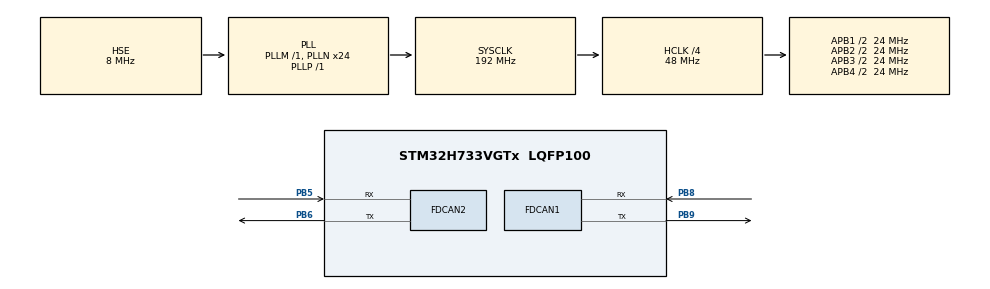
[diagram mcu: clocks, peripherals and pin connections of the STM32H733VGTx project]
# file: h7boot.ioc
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CORTEX_M7.CPU_DCache=Disabled
CORTEX_M7.CPU_ICache=Disabled
CRC.InputDataFormat=CRC_INPUTDATA_FORMAT_WORDS
FDCAN1.AutoRetransmission=ENABLE
FDCAN1.CalculateBaudRateNominal=500000
FDCAN1.CalculateTimeBitNominal=2000
FDCAN1.CalculateTimeQuantumNominal=125.0
FDCAN1.NominalPrescaler=6
FDCAN1.NominalSyncJumpWidth=4
FDCAN1.NominalTimeSeg1=13
FDCAN1.RxFifo0ElmtsNbr=1
FDCAN1.RxFifo1ElmtsNbr=0
FDCAN1.StdFiltersNbr=1
FDCAN1.TxFifoQueueElmtsNbr=1
FDCAN2.AutoRetransmission=ENABLE
FDCAN2.CalculateBaudRateNominal=500000
FDCAN2.CalculateTimeBitNominal=2000
FDCAN2.CalculateTimeQuantumNominal=125.0
FDCAN2.NominalPrescaler=6
FDCAN2.NominalSyncJumpWidth=4
FDCAN2.NominalTimeSeg1=13
FDCAN2.RxFifo0ElmtsNbr=1
FDCAN2.StdFiltersNbr=1
FDCAN2.TxFifoQueueElmtsNbr=1
FREERTOS.Tasks01=interfaceTask,32,512,runInterfaceTask,Default,NULL,Static,interfaceTaskBuffer,interfaceTaskControlBlock;tickTask,24,512,runTickTask,Default,NULL,Static,tickTaskBuffer,tickTaskControlBlock;canTxTask,16,512,runCanTxTask,Default,NULL,Static,canTxTaskBuffer,canTxTaskControlBlock
FREERTOS.configUSE_NEWLIB_REENTRANT=1
Mcu.Family=STM32H7
Mcu.Name=STM32H733VGTx
Mcu.Package=LQFP100
NVIC.FDCAN1_IT0_IRQn=true\:5\:0\:false\:false\:true\:true\:true\:true\:true
NVIC.FDCAN1_IT1_IRQn=true\:5\:0\:false\:false\:true\:true\:true\:true\:true
NVIC.FDCAN2_IT0_IRQn=true\:5\:0\:false\:false\:true\:true\:true\:true\:true
NVIC.FDCAN2_IT1_IRQn=true\:5\:0\:false\:false\:true\:true\:true\:true\:true
NVIC.PriorityGroup=NVIC_PRIORITYGROUP_4
NVIC.TIM6_DAC_IRQn=true\:15\:0\:false\:false\:true\:false\:false\:true\:true
NVIC.TimeBase=TIM6_DAC_IRQn
NVIC.TimeBaseIP=TIM6
PB5.Mode=FDCAN_Activate
PB5.Signal=FDCAN2_RX
PB6.Mode=FDCAN_Activate
PB6.Signal=FDCAN2_TX
PB8.Mode=FDCAN_Activate
PB8.Signal=FDCAN1_RX
PB9.Mode=FDCAN_Activate
PB9.Signal=FDCAN1_TX
PH0-OSC_IN.Mode=HSE-External-Oscillator
PH0-OSC_IN.Signal=RCC_OSC_IN
PH1-OSC_OUT.Mode=HSE-External-Oscillator
PH1-OSC_OUT.Signal=RCC_OSC_OUT
ProjectManager.HeapSize=0x00
ProjectManager.StackSize=0x400
ProjectManager.TargetToolchain=STM32CubeIDE
RCC.ADCFreq_Value=16125000
RCC.APB1Freq_Value=24000000
RCC.APB2Freq_Value=24000000
RCC.APB3Freq_Value=24000000
RCC.APB4Freq_Value=24000000
RCC.CortexFreq_Value=96000000
RCC.D1CPRE=RCC_SYSCLK_DIV2
RCC.D1PPRE=RCC_APB3_DIV2
RCC.D2PPRE1=RCC_APB1_DIV2
RCC.D2PPRE2=RCC_APB2_DIV2
RCC.D3PPRE=RCC_APB4_DIV2
RCC.DIVM1=1
RCC.DIVN1=24
RCC.DIVP1=1
RCC.DIVQ1=4
RCC.HCLKFreq_Value=48000000
RCC.HPRE=RCC_HCLK_DIV2
RCC.HSE_VALUE=8000000
RCC.PLL2FRACN=0
RCC.PLL3FRACN=0
RCC.PLLFRACN=0
RCC.PLLSourceVirtual=RCC_PLLSOURCE_HSE
RCC.SYSCLKFreq_VALUE=192000000
RCC.SYSCLKSource=RCC_SYSCLKSOURCE_PLLCLK
RCC.USBFreq_Value=48000000
VP_CRC_VS_CRC.Mode=CRC_Activate
VP_FREERTOS_VS_CMSIS_V2.Mode=CMSIS_V2
VP_SYS_VS_tim6.Mode=TIM6
board=custom

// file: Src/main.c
/* USER CODE BEGIN Header */
/**
 ******************************************************************************
 * @file           : main.c
 * @brief          : Main program body
 ******************************************************************************
 * @attention
 *
 * Copyright (c) 2023 STMicroelectronics.
 * All rights reserved.
 *
 * This software is licensed under terms that can be found in the LICENSE file
 * in the root directory of this software component.
 * If no LICENSE file comes with this software, it is provided AS-IS.
 *
 ******************************************************************************
 */
/* USER CODE END Header */
#include "main.h"
#include "cmsis_os.h"

/* USER CODE BEGIN Includes */
#include "bootloader.h"
#include "hw_can.h"
#include "config.h"
/* USER CODE END Includes */

typedef StaticTask_t osStaticThreadDef_t;

CRC_HandleTypeDef hcrc;

FDCAN_HandleTypeDef hfdcan1;
FDCAN_HandleTypeDef hfdcan2;

/* Definitions for interfaceTask */
osThreadId_t interfaceTaskHandle;
uint32_t interfaceTaskBuffer[ 512 ];
osStaticThreadDef_t interfaceTaskControlBlock;
const osThreadAttr_t interfaceTask_attributes = {
  .name = "interfaceTask",
  .cb_mem = &interfaceTaskControlBlock,
  .cb_size = sizeof(interfaceTaskControlBlock),
  .stack_mem = &interfaceTaskBuffer[0],
  .stack_size = sizeof(interfaceTaskBuffer),
  .priority = (osPriority_t) osPriorityAboveNormal,
};
/* Definitions for tickTask */
osThreadId_t tickTaskHandle;
uint32_t tickTaskBuffer[ 512 ];
osStaticThreadDef_t tickTaskControlBlock;
const osThreadAttr_t tickTask_attributes = {
  .name = "tickTask",
  .cb_mem = &tickTaskControlBlock,
  .cb_size = sizeof(tickTaskControlBlock),
  .stack_mem = &tickTaskBuffer[0],
  .stack_size = sizeof(tickTaskBuffer),
  .priority = (osPriority_t) osPriorityNormal,
};
/* Definitions for canTxTask */
osThreadId_t canTxTaskHandle;
uint32_t canTxTaskBuffer[ 512 ];
osStaticThreadDef_t canTxTaskControlBlock;
const osThreadAttr_t canTxTask_attributes = {
  .name = "canTxTask",
  .cb_mem = &canTxTaskControlBlock,
  .cb_size = sizeof(canTxTaskControlBlock),
  .stack_mem = &canTxTaskBuffer[0],
  .stack_size = sizeof(canTxTaskBuffer),
  .priority = (osPriority_t) osPriorityBelowNormal,
};

void SystemClock_Config(void);
static void MX_GPIO_Init(void);
static void MX_CRC_Init(void);
static void MX_FDCAN1_Init(void);
static void MX_FDCAN2_Init(void);
void runInterfaceTask(void *argument);
void runTickTask(void *argument);
void runCanTxTask(void *argument);

/* USER CODE BEGIN 0 */
CanHandle can = { .canMsgRecievecallback = NULL };
/* USER CODE END 0 */

int main(void)
{

  /* MCU Configuration--------------------------------------------------------*/

  /* Reset of all peripherals, Initializes the Flash interface and the Systick. */
  HAL_Init();

  /* Configure the system clock */
  SystemClock_Config();

  /* Initialize all configured peripherals */
  MX_GPIO_Init();
  MX_CRC_Init();
  MX_FDCAN1_Init();
  MX_FDCAN2_Init();
  /* USER CODE BEGIN 2 */
// Support using different FDCAN peripherals (FDCAN1 or FDCAN2) for
// the bootloader on different boards. This just depends on the hardware
// this will be flashed to. So we only need to make one STM32CubeMX project,
// both FDCAN peripherals are enabled and configured identically, but we only
// pass one the `hw_can` driver to be used during operation.
#ifdef BOOT_FDCAN1
    can.can = &hfdcan1;
    hw_can_init(&can);
#elif defined(BOOT_FDCAN2)
    can.can = &hfdcan2;
    hw_can_init(&can);
#else
#error Define which FDCAN peripheral is used!
#endif

    bootloader_init();
  /* USER CODE END 2 */

  /* Init scheduler */
  osKernelInitialize();

  /* Create the thread(s) */
  /* creation of interfaceTask */
  interfaceTaskHandle = osThreadNew(runInterfaceTask, NULL, &interfaceTask_attributes);

  /* creation of tickTask */
  tickTaskHandle = osThreadNew(runTickTask, NULL, &tickTask_attributes);

  /* creation of canTxTask */
  canTxTaskHandle = osThreadNew(runCanTxTask, NULL, &canTxTask_attributes);

  /* Start scheduler */
  osKernelStart();

  /* We should never get here as control is now taken by the scheduler */
  /* Infinite loop */
    while (1)
    {

    }
}

void SystemClock_Config(void)
{
  RCC_OscInitTypeDef RCC_OscInitStruct = {0};
  RCC_ClkInitTypeDef RCC_ClkInitStruct = {0};

  /** Supply configuration update enable
  */
  HAL_PWREx_ConfigSupply(PWR_LDO_SUPPLY);

  /** Configure the main internal regulator output voltage
  */
  __HAL_PWR_VOLTAGESCALING_CONFIG(PWR_REGULATOR_VOLTAGE_SCALE3);

  while(!__HAL_PWR_GET_FLAG(PWR_FLAG_VOSRDY)) {}

  /** Initializes the RCC Oscillators according to the specified parameters
  * in the RCC_OscInitTypeDef structure.
  */
  RCC_OscInitStruct.OscillatorType = RCC_OSCILLATORTYPE_HSE;
  RCC_OscInitStruct.HSEState = RCC_HSE_ON;
  RCC_OscInitStruct.PLL.PLLState = RCC_PLL_ON;
  RCC_OscInitStruct.PLL.PLLSource = RCC_PLLSOURCE_HSE;
  RCC_OscInitStruct.PLL.PLLM = 1;
  RCC_OscInitStruct.PLL.PLLN = 24;
  RCC_OscInitStruct.PLL.PLLP = 1;
  RCC_OscInitStruct.PLL.PLLQ = 4;
  RCC_OscInitStruct.PLL.PLLR = 2;
  RCC_OscInitStruct.PLL.PLLRGE = RCC_PLL1VCIRANGE_3;
  RCC_OscInitStruct.PLL.PLLVCOSEL = RCC_PLL1VCOWIDE;
  RCC_OscInitStruct.PLL.PLLFRACN = 0;
  if (HAL_RCC_OscConfig(&RCC_OscInitStruct) != HAL_OK)
  {
    Error_Handler();
  }

  /** Initializes the CPU, AHB and APB buses clocks
  */
  RCC_ClkInitStruct.ClockType = RCC_CLOCKTYPE_HCLK|RCC_CLOCKTYPE_SYSCLK
                              |RCC_CLOCKTYPE_PCLK1|RCC_CLOCKTYPE_PCLK2
                              |RCC_CLOCKTYPE_D3PCLK1|RCC_CLOCKTYPE_D1PCLK1;
  RCC_ClkInitStruct.SYSCLKSource = RCC_SYSCLKSOURCE_PLLCLK;
  RCC_ClkInitStruct.SYSCLKDivider = RCC_SYSCLK_DIV2;
  RCC_ClkInitStruct.AHBCLKDivider = RCC_HCLK_DIV2;
  RCC_ClkInitStruct.APB3CLKDivider = RCC_APB3_DIV2;
  RCC_ClkInitStruct.APB1CLKDivider = RCC_APB1_DIV2;
  RCC_ClkInitStruct.APB2CLKDivider = RCC_APB2_DIV2;
  RCC_ClkInitStruct.APB4CLKDivider = RCC_APB4_DIV2;

  if (HAL_RCC_ClockConfig(&RCC_ClkInitStruct, FLASH_LATENCY_1) != HAL_OK)
  {
    Error_Handler();
  }
}

static void MX_CRC_Init(void)
{

  hcrc.Instance = CRC;
  hcrc.Init.DefaultPolynomialUse = DEFAULT_POLYNOMIAL_ENABLE;
  hcrc.Init.DefaultInitValueUse = DEFAULT_INIT_VALUE_ENABLE;
  hcrc.Init.InputDataInversionMode = CRC_INPUTDATA_INVERSION_NONE;
  hcrc.Init.OutputDataInversionMode = CRC_OUTPUTDATA_INVERSION_DISABLE;
  hcrc.InputDataFormat = CRC_INPUTDATA_FORMAT_WORDS;
  if (HAL_CRC_Init(&hcrc) != HAL_OK)
  {
    Error_Handler();
  }

}

static void MX_FDCAN1_Init(void)
{

  hfdcan1.Instance = FDCAN1;
  hfdcan1.Init.FrameFormat = FDCAN_FRAME_CLASSIC;
  hfdcan1.Init.Mode = FDCAN_MODE_NORMAL;
  hfdcan1.Init.AutoRetransmission = ENABLE;
  hfdcan1.Init.TransmitPause = DISABLE;
  hfdcan1.Init.ProtocolException = DISABLE;
  hfdcan1.Init.NominalPrescaler = 6;
  hfdcan1.Init.NominalSyncJumpWidth = 4;
  hfdcan1.Init.NominalTimeSeg1 = 13;
  hfdcan1.Init.NominalTimeSeg2 = 2;
  hfdcan1.Init.DataPrescaler = 1;
  hfdcan1.Init.DataSyncJumpWidth = 1;
  hfdcan1.Init.DataTimeSeg1 = 1;
  hfdcan1.Init.DataTimeSeg2 = 1;
  hfdcan1.Init.MessageRAMOffset = 0;
  hfdcan1.Init.StdFiltersNbr = 1;
  hfdcan1.Init.ExtFiltersNbr = 0;
  hfdcan1.Init.RxFifo0ElmtsNbr = 1;
  hfdcan1.Init.RxFifo0ElmtSize = FDCAN_DATA_BYTES_8;
  hfdcan1.Init.RxFifo1ElmtsNbr = 0;
  hfdcan1.Init.RxFifo1ElmtSize = FDCAN_DATA_BYTES_8;
  hfdcan1.Init.RxBuffersNbr = 0;
  hfdcan1.Init.RxBufferSize = FDCAN_DATA_BYTES_8;
  hfdcan1.Init.TxEventsNbr = 0;
  hfdcan1.Init.TxBuffersNbr = 0;
  hfdcan1.Init.TxFifoQueueElmtsNbr = 1;
  hfdcan1.Init.TxFifoQueueMode = FDCAN_TX_FIFO_OPERATION;
  hfdcan1.Init.TxElmtSize = FDCAN_DATA_BYTES_8;
  if (HAL_FDCAN_Init(&hfdcan1) != HAL_OK)
  {
    Error_Handler();
  }

}

static void MX_FDCAN2_Init(void)
{

  hfdcan2.Instance = FDCAN2;
  hfdcan2.Init.FrameFormat = FDCAN_FRAME_CLASSIC;
  hfdcan2.Init.Mode = FDCAN_MODE_NORMAL;
  hfdcan2.Init.AutoRetransmission = ENABLE;
  hfdcan2.Init.TransmitPause = DISABLE;
  hfdcan2.Init.ProtocolException = DISABLE;
  hfdcan2.Init.NominalPrescaler = 6;
  hfdcan2.Init.NominalSyncJumpWidth = 4;
  hfdcan2.Init.NominalTimeSeg1 = 13;
  hfdcan2.Init.NominalTimeSeg2 = 2;
  hfdcan2.Init.DataPrescaler = 1;
  hfdcan2.Init.DataSyncJumpWidth = 1;
  hfdcan2.Init.DataTimeSeg1 = 1;
  hfdcan2.Init.DataTimeSeg2 = 1;
  hfdcan2.Init.MessageRAMOffset = 0;
  hfdcan2.Init.StdFiltersNbr = 1;
  hfdcan2.Init.ExtFiltersNbr = 0;
  hfdcan2.Init.RxFifo0ElmtsNbr = 1;
  hfdcan2.Init.RxFifo0ElmtSize = FDCAN_DATA_BYTES_8;
  hfdcan2.Init.RxFifo1ElmtsNbr = 0;
  hfdcan2.Init.RxFifo1ElmtSize = FDCAN_DATA_BYTES_8;
  hfdcan2.Init.RxBuffersNbr = 0;
  hfdcan2.Init.RxBufferSize = FDCAN_DATA_BYTES_8;
  hfdcan2.Init.TxEventsNbr = 0;
  hfdcan2.Init.TxBuffersNbr = 0;
  hfdcan2.Init.TxFifoQueueElmtsNbr = 1;
  hfdcan2.Init.TxFifoQueueMode = FDCAN_TX_FIFO_OPERATION;
  hfdcan2.Init.TxElmtSize = FDCAN_DATA_BYTES_8;
  if (HAL_FDCAN_Init(&hfdcan2) != HAL_OK)
  {
    Error_Handler();
  }

}

static void MX_GPIO_Init(void)
{

  /* GPIO Ports Clock Enable */
  __HAL_RCC_GPIOH_CLK_ENABLE();
  __HAL_RCC_GPIOB_CLK_ENABLE();

}

void runInterfaceTask(void *argument)
{
  /* USER CODE BEGIN 5 */
    bootloader_runInterfaceTask();
  /* USER CODE END 5 */
}

void runTickTask(void *argument)
{
  /* USER CODE BEGIN runTickTask */
    bootloader_runTickTask();
  /* USER CODE END runTickTask */
}

void runCanTxTask(void *argument)
{
  /* USER CODE BEGIN runCanTxTask */
    bootloader_runCanTxTask();
  /* USER CODE END runCanTxTask */
}

void HAL_TIM_PeriodElapsedCallback(TIM_HandleTypeDef *htim)
{
  if (htim->Instance == TIM6) {
    HAL_IncTick();
  }
}

void Error_Handler(void)
{
    __disable_irq();
    while (1)
    {
    }
}
